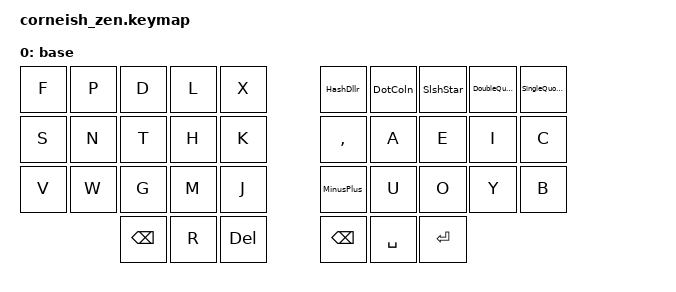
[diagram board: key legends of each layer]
/*
 * Copyright (c) 2021 Darryl deHaan
 *
 * SPDX-License-Identifier: MIT
 */

#include "boards/arm/corneish_zen/corneish_zen_flash0.dtsi" // override &flash0 settings
#include <behaviors/num_word.dtsi>      // urob's num_word module
#include <behaviors.dtsi>
#include <dt-bindings/zmk/keys.h>

/ {
    chosen {
        //zmk,matrix_transform = &default_transform;

        zmk,matrix_transform = &five_column_transform;
    };

    macros {
        t_pairDquo: t_pairDquo {
            compatible = "zmk,behavior-macro";
            #binding-cells = <0>;
            bindings =
                <&macro_release>,
                <&kp LSHFT &kp RSHFT &kp LALT &kp RALT &kp LCTRL &kp RCTRL &kp LEFT_WIN &kp RWIN>,
                <&macro_tap>,
                <&kp DOUBLE_QUOTES &kp DOUBLE_QUOTES &kp LEFT>;

            label = "T_PAIRDQUO";
            tap-ms = <40>;
        };

        t_pairSquo: t_pairSquo {
            compatible = "zmk,behavior-macro";
            #binding-cells = <0>;
            bindings =
                <&macro_release>,
                <&kp LSHFT &kp RSHFT &kp LALT &kp RALT &kp LCTRL &kp RCTRL &kp LEFT_WIN &kp RWIN>,
                <&macro_tap>,
                <&kp SINGLE_QUOTE &kp SINGLE_QUOTE &kp LEFT>;

            label = "T_PAIRSQUO";
            tap-ms = <40>;
        };

        t_pairLtGt: t_pairLtGt {
            compatible = "zmk,behavior-macro";
            #binding-cells = <0>;
            bindings =
                <&macro_release>,
                <&kp LSHFT &kp RSHFT &kp LALT &kp RALT &kp LCTRL &kp RCTRL &kp LEFT_WIN &kp RWIN>,
                <&macro_tap>,
                <&kp LT &kp GT &kp LEFT>;

            label = "T_PAIRLTGT";
            tap-ms = <40>;
        };
    };

    behaviors {
        DotColn: DotColn {
            compatible = "zmk,behavior-mod-morph";
            label = "DOTCOLN";
            bindings = <&kp DOT>, <&kp COLON>;

            #binding-cells = <0>;
            mods = <(MOD_RSFT|MOD_LSFT)>;
        };

        SlshStar: SlshStar {
            compatible = "zmk,behavior-mod-morph";
            label = "SLSHSTAR";
            bindings = <&SlshBslh>, <&kp STAR>;

            #binding-cells = <0>;
            mods = <(MOD_LSFT|MOD_RSFT)>;
        };

        SlshBslh: SlshBslh {
            compatible = "zmk,behavior-mod-morph";
            label = "SLSHBSLH";
            bindings = <&kp FSLH>, <&kp BACKSLASH>;

            #binding-cells = <0>;
            mods = <(MOD_LALT|MOD_RSFT)>;
        };

        HashDllr: HashDllr {
            compatible = "zmk,behavior-mod-morph";
            label = "HASHDLLR";
            bindings = <&kp HASH>, <&kp DOLLAR>;

            #binding-cells = <0>;
            mods = <(MOD_LSFT|MOD_RSFT)>;
        };

        MinusPlus: MinusPlus {
            compatible = "zmk,behavior-mod-morph";
            label = "MINUSPLUS";
            bindings = <&kp MINUS>, <&kp PLUS>;

            #binding-cells = <0>;
            mods = <(MOD_LSFT|MOD_RSFT)>;
        };

    #define hold_tap_config \
            compatible = "zmk,behavior-hold-tap"; \
            #binding-cells = <2>; \
            tapping-term-ms = <200>; \
            flavor = "tap-preferred"
        
        DoubleQuotesLt: DoubleQuotesLt {
            hold_tap_config;
            bindings = <&pairDquoLt>, <&DquotLt>;
        };

        pairDquoLt: pairDquoLt {
            compatible = "zmk,behavior-mod-morph";
            #binding-cells = <0>;
            bindings = <&t_pairDquo>, <&t_pairLtGt>;
            mods = <(MOD_LSFT|MOD_RSFT)>;
        };

        DquotLt: DquotLt {
            compatible = "zmk,behavior-mod-morph";
            #binding-cells = <0>;
            bindings = <&kp DOUBLE_QUOTES>, <&kp LT>;
            mods = <(MOD_LSFT|MOD_RSFT)>;
        };

        SingleQuoteGt: SingleQuoteGt {
            hold_tap_config;
            bindings = <&pairSquoGt>, <&SquotGT>
        };

        pairSquoGt: pairSquoGt {
            compatible = "zmk,behavior-mod-morph";
            #binding-cells = <0>;
            bindings = <&t_pairSquo>, <&kp GT>;
            mods = <(MOD_LSFT|MOD_RSFT)>;
        };

        SquotGT: SquotGT {
            compatible = "zmk,behavior-mod-morph";
            #binding-cells = <0>;
            bindings = <&kp SINGLE_QUOTE>, <&kp GT>;
            mods = <(MOD_LSFT|MOD_RSFT)>;
        };
    };

    keymap {
        compatible = "zmk,keymap";

        base {
            bindings = <
  &kp F  &kp P  &kp D          &kp L  &kp X      &HashDllr   &DotColn   &SlshStar  &DoubleQuotesLt  &SingleQuoteGt
  &kp S  &kp N  &kp T          &kp H  &kp K      &kp COMMA   &kp A      &kp E      &kp I            &kp C
  &kp V  &kp W  &kp G          &kp M  &kp J      &MinusPlus  &kp U      &kp O      &kp Y            &kp B
                &kp BACKSPACE  &kp R  &kp DEL    &kp BSPC    &kp SPACE  &kp RET
            >;
        };
    };
};

#include "moutis/moutis_config.dtsi"    // my add-on feature defs
#include "keymaps/keynames_3x5_3.h"     // key name defs for this board topology
#include "layouts/hd/vf-config.h"       // HD alpha keymap, adapt, and combo definitions

/ {
/*
 * Behaviors
 */
    behaviors {

#include "moutis/moutis_behaviors.dtsi" // common behaviors (hold-taps, mod-morphs, lingers, adaptives)
#include HD_adapt_file                  // HDalpha/mnemonic based adaptives (most of them)

    };

/*
 * Macros
 */
    macros {
    
#include "moutis/moutis_macros.dtsi"    // common macros (superset)

    };

/*
 * Combos
 */
    combos {
        compatible = "zmk,combos";

#include "moutis/moutis_combos.dtsi"    // common/location based combos (cut/copy/paste, esc, app, etc.)
#include HD_combo_file                  // HD alpha/mnemonic based combos (h-digraphs, etc.)

    };
/*
 * Keymap (all layers w/references to all the above)
 */

#include "keymaps/keymap_3x5_3.dtsi"    // consolidated keymap

};
